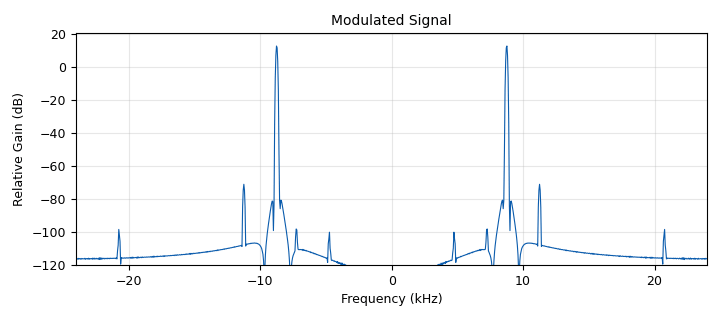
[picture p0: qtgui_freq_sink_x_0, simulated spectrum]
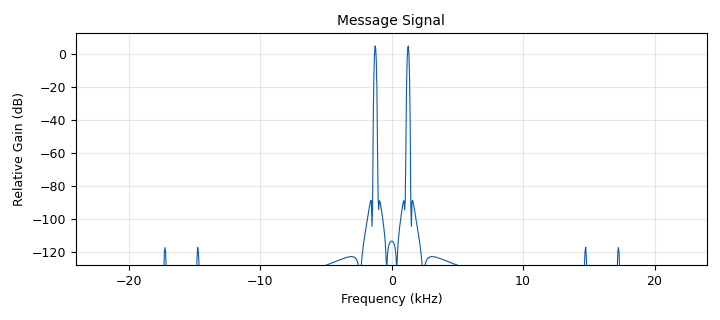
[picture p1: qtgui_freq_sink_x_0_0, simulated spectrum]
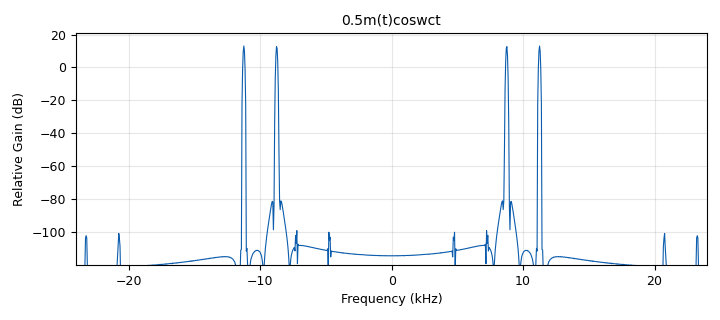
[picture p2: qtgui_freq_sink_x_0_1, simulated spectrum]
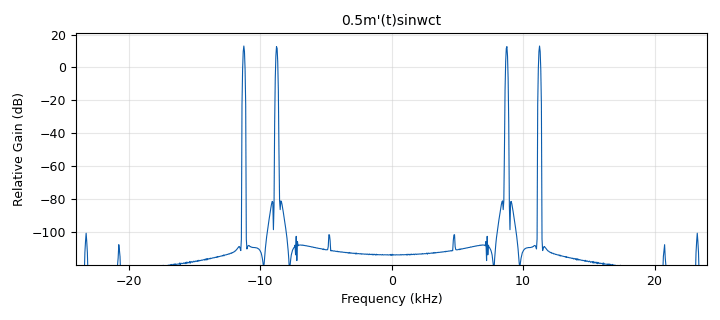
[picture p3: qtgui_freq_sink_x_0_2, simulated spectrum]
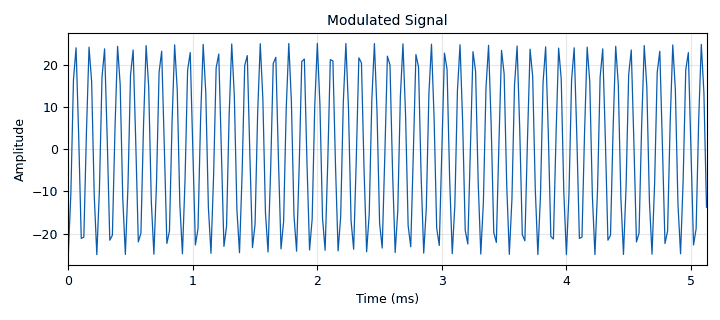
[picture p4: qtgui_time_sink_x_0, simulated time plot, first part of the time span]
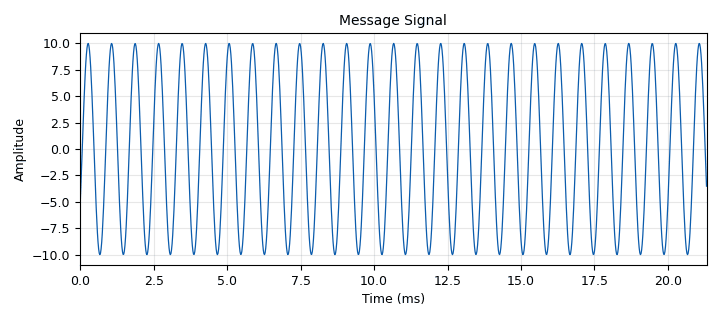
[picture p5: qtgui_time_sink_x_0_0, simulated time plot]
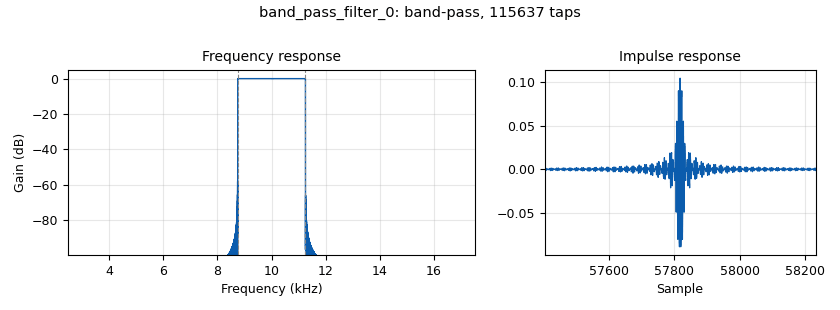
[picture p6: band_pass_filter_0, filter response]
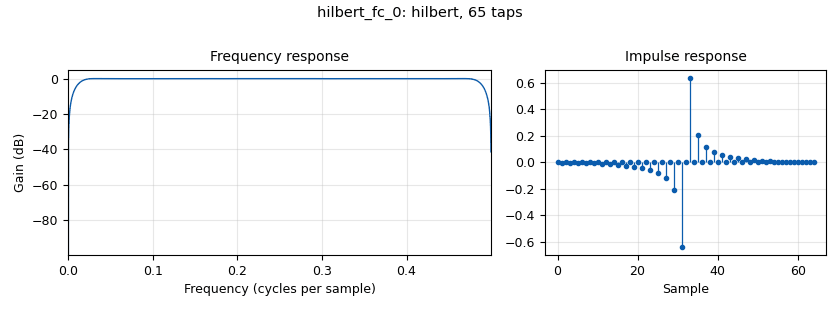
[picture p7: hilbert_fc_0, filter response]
options:
  parameters:
    author: shashank
    generate_options: qt_gui
    id: ssb_sc_phase_discrimination_USRP
    output_language: python
    title: ssb_sc_phase_discrimination_USRP
  states: {}

blocks:
- name: carrier_amplitude
  id: variable
  parameters:
    value: msg_amplitude/mu
  states: {}
- name: fc
  id: variable
  parameters:
    value: '10000'
  states: {}
- name: fm
  id: variable
  parameters:
    value: '1250'
  states: {}
- name: msg_amplitude
  id: variable
  parameters:
    value: '10'
  states: {}
- name: mu
  id: variable
  parameters:
    value: '1'
  states: {}
- name: samp_rate
  id: variable
  parameters:
    value: '48000'
  states: {}
- name: analog_sig_source_x_0
  id: analog_sig_source_x
  parameters:
    alias: message_signal
    amp: msg_amplitude
    freq: fm
    offset: '0'
    phase: '0'
    samp_rate: samp_rate
    type: float
    waveform: analog.GR_COS_WAVE
  states: {}
- name: analog_sig_source_x_1
  id: analog_sig_source_x
  parameters:
    alias: carrier_signal
    amp: carrier_amplitude
    freq: fc
    offset: '0'
    phase: '0'
    samp_rate: samp_rate
    type: float
    waveform: analog.GR_COS_WAVE
  states: {}
- name: analog_sig_source_x_1_0
  id: analog_sig_source_x
  parameters:
    amp: carrier_amplitude
    freq: fc
    offset: '0'
    phase: '0'
    samp_rate: samp_rate
    type: float
    waveform: analog.GR_COS_WAVE
  states: {}
- name: band_pass_filter_0
  id: band_pass_filter
  parameters:
    decim: '1'
    gain: '1'
    high_cutoff_freq: fc+fm
    low_cutoff_freq: fc-fm
    samp_rate: samp_rate
    type: fir_filter_ccf
    width: '1'
    win: firdes.WIN_HAMMING
  states: {}
- name: blocks_add_xx_0
  id: blocks_add_xx
  parameters:
    type: float
  states: {}
- name: blocks_complex_to_float_0
  id: blocks_complex_to_float
  parameters: {}
  states: {}
- name: blocks_complex_to_float_0_0
  id: blocks_complex_to_float
  parameters: {}
  states: {}
- name: blocks_complex_to_float_0_1
  id: blocks_complex_to_float
  parameters: {}
  states: {}
- name: blocks_float_to_complex_0
  id: blocks_float_to_complex
  parameters: {}
  states: {}
- name: blocks_multiply_const_vxx_0
  id: blocks_multiply_const_vxx
  parameters:
    const: '0.5'
    type: float
  states: {}
- name: blocks_multiply_const_vxx_0_0
  id: blocks_multiply_const_vxx
  parameters:
    const: '0.5'
    type: float
  states: {}
- name: blocks_multiply_const_vxx_1
  id: blocks_multiply_const_vxx
  parameters:
    const: '-1'
    type: float
  states: {state: disabled}
- name: blocks_multiply_const_vxx_1_0
  id: blocks_multiply_const_vxx
  parameters:
    const: '-1'
    type: float
  states: {}
- name: blocks_multiply_xx_0
  id: blocks_multiply_xx
  parameters:
    type: float
  states: {}
- name: blocks_multiply_xx_0_0
  id: blocks_multiply_xx
  parameters:
    type: float
  states: {}
- name: blocks_multiply_xx_1
  id: blocks_multiply_xx
  parameters:
    type: float
  states: {}
- name: blocks_null_sink_0
  id: blocks_null_sink
  parameters:
    type: float
  states: {}
- name: blocks_null_sink_0_0
  id: blocks_null_sink
  parameters:
    type: float
  states: {}
- name: blocks_throttle_0
  id: blocks_throttle
  parameters:
    samples_per_second: samp_rate
    type: float
  states: {}
- name: hilbert_fc_0
  id: hilbert_fc
  parameters:
    num_taps: '65'
    win: firdes.WIN_HAMMING
  states: {}
- name: hilbert_fc_1
  id: hilbert_fc
  parameters:
    num_taps: '65'
    win: firdes.WIN_HAMMING
  states: {}
- name: low_pass_filter_0
  id: low_pass_filter
  parameters:
    cutoff_freq: '1500'
    decim: '1'
    gain: '1'
    samp_rate: samp_rate
    type: fir_filter_fff
    width: '1'
    win: firdes.WIN_HAMMING
  states: {}
- name: note_0
  id: note
  parameters:
    note: SSB-SC Transmitter
  states: {}
- name: note_1
  id: note
  parameters:
    note: SSB-SC Receiver
  states: {}
- name: qtgui_freq_sink_x_0
  id: qtgui_freq_sink_x
  parameters:
    autoscale: 'True'
    bw: samp_rate
    ctrlpanel: 'True'
    fc: '0'
    fftsize: '1024'
    grid: 'True'
    name: '"Modulated Signal"'
    type: float
    wintype: firdes.WIN_BLACKMAN_hARRIS
  states: {}
- name: qtgui_freq_sink_x_0_0
  id: qtgui_freq_sink_x
  parameters:
    autoscale: 'True'
    bw: samp_rate
    ctrlpanel: 'True'
    fc: '0'
    fftsize: '1024'
    grid: 'True'
    name: '"Message Signal"'
    type: float
    wintype: firdes.WIN_BLACKMAN_hARRIS
  states: {}
- name: qtgui_freq_sink_x_0_1
  id: qtgui_freq_sink_x
  parameters:
    autoscale: 'True'
    bw: samp_rate
    ctrlpanel: 'True'
    fc: '0'
    fftsize: '1024'
    grid: 'True'
    name: '"0.5m(t)coswct"'
    type: float
    wintype: firdes.WIN_BLACKMAN_hARRIS
  states: {}
- name: qtgui_freq_sink_x_0_2
  id: qtgui_freq_sink_x
  parameters:
    autoscale: 'True'
    bw: samp_rate
    ctrlpanel: 'True'
    fc: '0'
    fftsize: '1024'
    grid: 'True'
    name: '"0.5m''(t)sinwct"'
    type: float
    wintype: firdes.WIN_BLACKMAN_hARRIS
  states: {}
- name: qtgui_freq_sink_x_0_3
  id: qtgui_freq_sink_x
  parameters:
    autoscale: 'True'
    bw: samp_rate
    ctrlpanel: 'True'
    fc: '0'
    fftsize: '1024'
    grid: 'True'
    name: '"Demodulated Signal"'
    type: float
    wintype: firdes.WIN_BLACKMAN_hARRIS
  states: {}
- name: qtgui_time_sink_x_0
  id: qtgui_time_sink_x
  parameters:
    autoscale: 'True'
    ctrlpanel: 'True'
    grid: 'True'
    name: '"Modulated Signal"'
    size: '1024'
    srate: samp_rate
    type: float
  states: {}
- name: qtgui_time_sink_x_0_0
  id: qtgui_time_sink_x
  parameters:
    autoscale: 'True'
    ctrlpanel: 'True'
    grid: 'True'
    name: '"Message Signal"'
    size: '1024'
    srate: samp_rate
    type: float
  states: {}
- name: qtgui_time_sink_x_0_1
  id: qtgui_time_sink_x
  parameters:
    autoscale: 'True'
    ctrlpanel: 'True'
    grid: 'True'
    name: '"0.5m(t)coswct"'
    size: '1024'
    srate: samp_rate
    type: float
  states: {}
- name: qtgui_time_sink_x_0_2
  id: qtgui_time_sink_x
  parameters:
    autoscale: 'True'
    ctrlpanel: 'True'
    grid: 'True'
    name: '"0.5m''(t)sinwct"'
    size: '1024'
    srate: samp_rate
    type: float
  states: {}
- name: qtgui_time_sink_x_0_3
  id: qtgui_time_sink_x
  parameters:
    autoscale: 'True'
    ctrlpanel: 'True'
    grid: 'True'
    name: '"Carrier Signal"'
    size: '1024'
    srate: samp_rate
    type: float
  states: {}
- name: qtgui_time_sink_x_0_4
  id: qtgui_time_sink_x
  parameters:
    autoscale: 'True'
    ctrlpanel: 'True'
    grid: 'True'
    name: '"Demodulated Signal"'
    size: '1024'
    srate: samp_rate
    type: float
  states: {}
- name: uhd_usrp_sink_0
  id: uhd_usrp_sink
  parameters:
    ant0: '"TX/RX"'
    center_freq0: 1e9
    dev_addr: '"Serial=32428D5"'
    gain0: '70'
    norm_gain0: 'False'
    samp_rate: samp_rate
    sync: sync
    type: fc32
  states: {}
- name: uhd_usrp_source_1
  id: uhd_usrp_source
  parameters:
    ant0: RX2
    center_freq0: 1e9
    dc_offs_enb0: '0'
    dev_addr: '"Serial=32428D5"'
    dev_args: '""'
    gain0: '0'
    iq_imbal_enb0: '0'
    norm_gain0: 'False'
    samp_rate: samp_rate
    sync: sync
    type: fc32
  states: {}

connections:
- [analog_sig_source_x_0, '0', blocks_multiply_xx_0, '0']
- [analog_sig_source_x_0, '0', hilbert_fc_1, '0']
- [analog_sig_source_x_0, '0', qtgui_freq_sink_x_0_0, '0']
- [analog_sig_source_x_0, '0', qtgui_time_sink_x_0_0, '0']
- [analog_sig_source_x_1, '0', blocks_multiply_const_vxx_0, '0']
- [analog_sig_source_x_1, '0', blocks_multiply_const_vxx_0_0, '0']
- [analog_sig_source_x_1, '0', qtgui_time_sink_x_0_3, '0']
- [analog_sig_source_x_1_0, '0', blocks_multiply_xx_1, '1']
- [band_pass_filter_0, '0', blocks_complex_to_float_0_1, '0']
- [blocks_add_xx_0, '0', blocks_throttle_0, '0']
- [blocks_complex_to_float_0, '0', blocks_null_sink_0_0, '0']
- [blocks_complex_to_float_0, '1', blocks_multiply_xx_0_0, '0']
- [blocks_complex_to_float_0_0, '0', blocks_null_sink_0, '0']
- [blocks_complex_to_float_0_0, '1', blocks_multiply_const_vxx_1_0, '0']
- [blocks_complex_to_float_0_1, '0', blocks_multiply_xx_1, '0']
- [blocks_float_to_complex_0, '0', uhd_usrp_sink_0, '0']
- [blocks_multiply_const_vxx_0, '0', blocks_multiply_xx_0, '1']
- [blocks_multiply_const_vxx_0_0, '0', hilbert_fc_0, '0']
- [blocks_multiply_const_vxx_1, '0', blocks_add_xx_0, '1']
- [blocks_multiply_const_vxx_1_0, '0', blocks_multiply_xx_0_0, '1']
- [blocks_multiply_xx_0, '0', blocks_add_xx_0, '0']
- [blocks_multiply_xx_0, '0', qtgui_freq_sink_x_0_1, '0']
- [blocks_multiply_xx_0, '0', qtgui_time_sink_x_0_1, '0']
- [blocks_multiply_xx_0_0, '0', blocks_add_xx_0, '1']
- [blocks_multiply_xx_0_0, '0', blocks_multiply_const_vxx_1, '0']
- [blocks_multiply_xx_0_0, '0', qtgui_freq_sink_x_0_2, '0']
- [blocks_multiply_xx_0_0, '0', qtgui_time_sink_x_0_2, '0']
- [blocks_multiply_xx_1, '0', low_pass_filter_0, '0']
- [blocks_throttle_0, '0', blocks_float_to_complex_0, '0']
- [blocks_throttle_0, '0', qtgui_freq_sink_x_0, '0']
- [blocks_throttle_0, '0', qtgui_time_sink_x_0, '0']
- [hilbert_fc_0, '0', blocks_complex_to_float_0, '0']
- [hilbert_fc_1, '0', blocks_complex_to_float_0_0, '0']
- [low_pass_filter_0, '0', qtgui_freq_sink_x_0_3, '0']
- [low_pass_filter_0, '0', qtgui_time_sink_x_0_4, '0']
- [uhd_usrp_source_1, '0', band_pass_filter_0, '0']

metadata:
  file_format: 1
